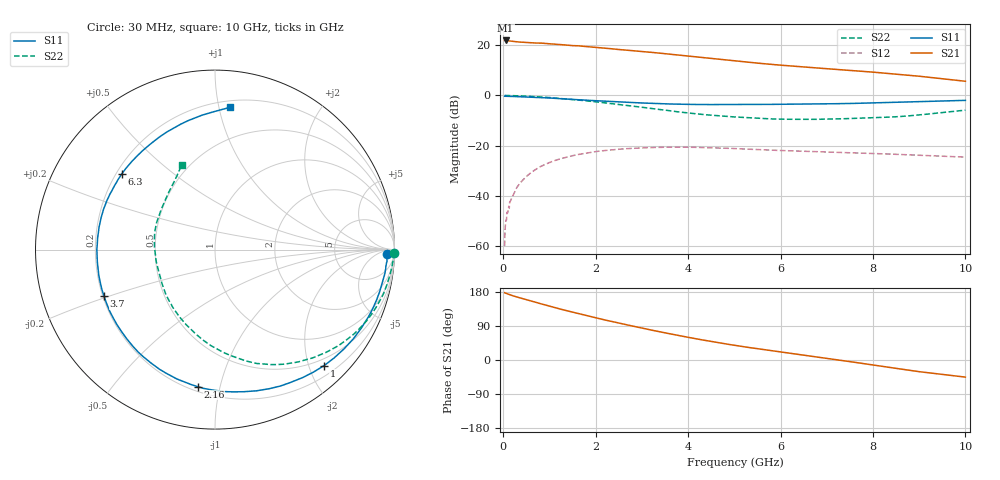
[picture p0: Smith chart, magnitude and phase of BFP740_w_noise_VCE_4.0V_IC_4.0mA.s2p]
! Infineon Technologies  Discrete & RF Semiconductors
! BFP740
! VCE =  4.0 V,  IC =  4.0 mA
! Common Emitter S-Parameters:  Jan 2016
# GHz  S  MA  R  50
!  f  S11  S21  S12  S22
! GHz  MAG  ANG  MAG  ANG  MAG  ANG  MAG  ANG
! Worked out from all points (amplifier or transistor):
!   229 points, 30 MHz to 10 GHz, reference 50 ohm
!   highest |S21| = 21.9 dB at 50 MHz (marker M1)
!   |S21| within 3 dB of that: start of sweep to 2.163 GHz
!   unconditionally stable (mu >= 1): 8.064 GHz to end of sweep
!   at 280 MHz: K = 0.13, MSG = 29.3 dB, |S12| = -37.2 dB
!   at 1.78 GHz: K = 0.21, MSG = 21.2 dB, |S12| = -23.0 dB
!   at 10 GHz: K = 1.19, MAG = 12.5 dB, |S12| = -24.6 dB
!   lowest NFmin = 0.45 dB at 450 MHz
!   S11 on the Smith chart (normalised r, x): 30 MHz: 35, -23; 1 GHz: 0.37, -2.26; 2.16 GHz: 0.23, -0.86; 3.7 GHz: 0.20, -0.19; 6.3 GHz: 0.22, +0.34; 10 GHz: 0.25, +1.08
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0.03  0.9611 -1.5  12.36 177.6  0.001 63.5  0.9957 -1.0
0.04  0.961 -2.0  12.24 177.1  0.0022 69.0  0.9948 -1.3
0.05  0.9623 -2.3  12.38 176.9  0.0029 73.5  0.9935 -1.8
0.12  0.9565 -5.9  12.24 173.2  0.0062 82.7  0.9924 -4.0
0.2  0.9526 -9.7  11.94 169.8  0.0097 79.9  0.9882 -6.6
0.42  0.939 -20.0  11.42 161.9  0.0205 75.5  0.9726 -13.5
0.8  0.9068 -37.7  11.01 148.9  0.0381 64.8  0.9333 -25.2
1  0.8874 -46.7  10.62 142.3  0.046 59.4  0.9057 -31.3
1.3  0.8522 -60.2  10.16 132.3  0.0569 50.7  0.8596 -39.9
1.7  0.81 -77.7  9.532 120.1  0.0685 40.9  0.7935 -50.8
2.16  0.7697 -97.2  8.77 106.8  0.0792 30.1  0.7185 -63.1
2.78  0.7209 -122.1  7.779 90.0  0.088 17.5  0.615 -78.5
3.1  0.6987 -134.9  7.346 81.6  0.0911 11.4  0.5664 -86.7
3.4  0.683 -146.2  6.899 74.2  0.0924 5.9  0.5213 -94.9
3.7  0.6708 -157.2  6.493 66.9  0.0933 0.8  0.4824 -102.8
4.3  0.6576 -177.2  5.696 53.2  0.0916 -8.3  0.4185 -119.3
5.1  0.6591 162.1  4.778 37.0  0.0867 -17.9  0.3683 -138.5
6.3  0.669 141.1  3.79 16.2  0.0784 -26.7  0.3335 -165.6
6.8  0.6756 132.9  3.497 7.8  0.0758 -29.6  0.3341 -177.7
8.4  0.7247 105.2  2.699 -20.3  0.0678 -37.3  0.3709 144.8
9  0.7525 95.5  2.405 -30.8  0.0644 -39.2  0.4091 129.3
10  0.7962 84.1  1.91 -45.2  0.0592 -39.6  0.5085 111.3
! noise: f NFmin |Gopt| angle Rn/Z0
0.45  0.45  0.46  11  0.27
0.9  0.45  0.46  18  0.26
1.5  0.49  0.45  27  0.25
1.9  0.53  0.43  43  0.24
2.4  0.55  0.43  48  0.23
3.5  0.67  0.39  70  0.21
5.5  0.9  0.28  159  0.19
10  1.62  0.57  -84  0.25
